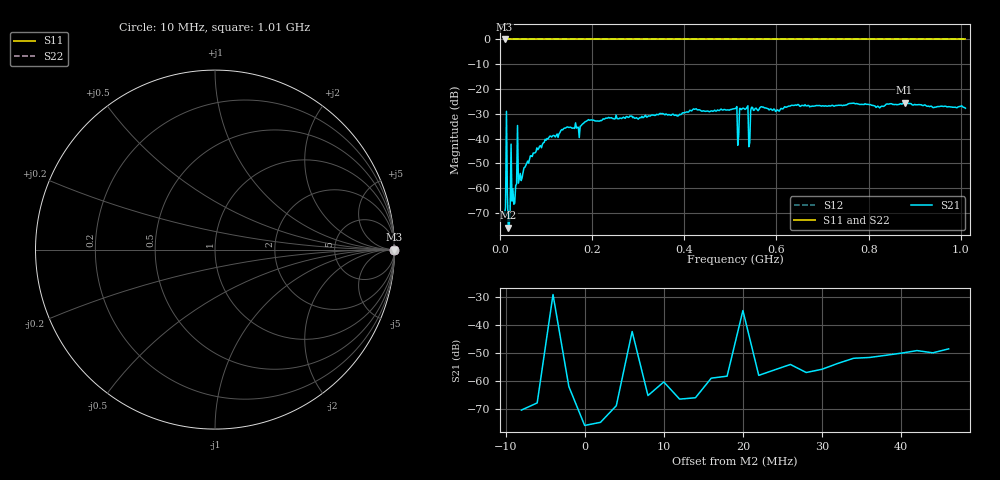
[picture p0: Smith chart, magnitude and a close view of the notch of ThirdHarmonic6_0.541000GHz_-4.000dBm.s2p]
! 8/15/2025 4:59:15 PM
! C:\ANRITSUVNA\TEMP\TEMP.S2P
! CHANNEL.1
! TR.MEASUREMENT
! RAW.DATA
! RF.CORRECTION.OFF
! AVERAGING.OFF
! IF.BANDWIDTH: 5KHZ
! SWEEPTYPE:  FREQ.SWEEP(Linear)
! Reference Plane Port Info
! PORT:  PORT1  PORT2
! DISTANCE:  0  m  0  m
! TIME:  0  s  0  s
! PHASE.OFFSET:  0  deg.  0  deg.
! LOSS:  0  dB  0  dB
! REF.LOSS:  0  dB  0  dB
! REF.FREQ:  0  Hz  0  Hz
! Power Info
! POWER:  -20  dBm  -20  dBm
! EFF.POWER:  -20  dBm  -20  dBm
! SOURCE.ATTEN:  0  dB  0  dB
! TEST.ATTEN:  0  dB  0  dB
# GHZ S RI R 50.0
! FREQ.GHZ  S11RE  S11IM  S21RE  S21IM  S12RE  S12IM  S22RE  S22IM
!; PortSelection: Port_12
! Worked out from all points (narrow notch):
!   501 points, 10 MHz to 1.01 GHz, reference 50 ohm
!   highest |S21| = -25.52 dB at 878 MHz (marker M1); lowest = -75.8 dB at 18 MHz (marker M2)
!   notch at M2: 47.4 dB deep, 7.85 MHz wide at half that depth
!   lowest |S11| = 0.0 dB at 10 MHz (marker M3)
!   |S11| at or under -10 dB: nowhere
!   |S22| runs from 0.0 to 0.0 dB; largest |S21 - S12| = 1.1
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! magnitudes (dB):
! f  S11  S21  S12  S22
! 10 MHz  0.0  -70.3  0.0  0.0
! 18 MHz  0.0  -75.8  0.0  0.0
! 22 MHz  0.0  -68.8  0.0  0.0
! 28 MHz  0.0  -60.3  0.0  0.0
! 30 MHz  0.0  -66.4  0.0  0.0
! 40 MHz  0.0  -57.9  0.0  0.0
! 44 MHz  0.0  -54.0  0.0  0.0
! 98 MHz  0.0  -40.3  0.0  0.0
! 178 MHz  0.0  -34.4  0.0  0.0
! 344 MHz  0.0  -30.4  0.0  0.0
! 510 MHz  0.0  -28.0  0.0  0.0
! 514 MHz  0.0  -27.1  0.0  0.0
! 520 MHz  0.0  -27.9  0.0  0.0
! 524 MHz  0.0  -28.3  0.0  0.0
! 534 MHz  0.0  -28.0  0.0  0.0
! 538 MHz  0.0  -26.8  0.0  0.0
! 544 MHz  0.0  -28.7  0.0  0.0
! 550 MHz  0.0  -28.7  0.0  0.0
! 678 MHz  0.0  -26.9  0.0  0.0
! 844 MHz  0.0  -26.1  0.0  0.0
! 878 MHz  0.0  -25.5  0.0  0.0
! 1.01 GHz  0.0  -27.8  0.0  0.0
